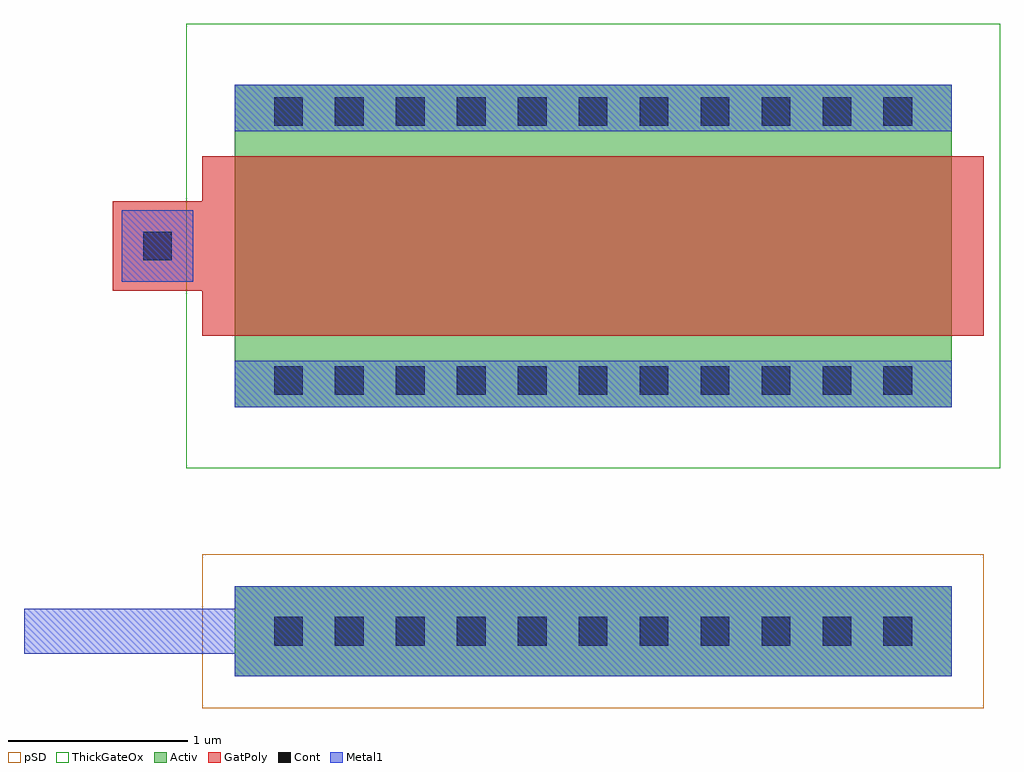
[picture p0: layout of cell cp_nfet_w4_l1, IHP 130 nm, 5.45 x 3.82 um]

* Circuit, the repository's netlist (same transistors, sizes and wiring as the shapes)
* extracted by klt extract --deck sg13cmos5l

* cell cp_nfet_w4_l1
* pin vsubs
.SUBCKT cp_nfet_w4_l1 vsubs
* device instance $1 r0 *1 3.3,3.36 nfet
X$1 \$2 \$1 \$3 vsubs sg13_hv_nmos L=1U W=4U AS=1.6P AD=1.6P PS=8.8U PD=8.8U
.ENDS cp_nfet_w4_l1

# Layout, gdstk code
import gdstk
lib = gdstk.Library(unit=1e-6, precision=1e-09)
def R(c, l, rs):  # rectangles x0, y0, x1, y1
    for r in rs: c.add(gdstk.rectangle(r[:2], r[2:], *l))
def A(c, l, x, y, w, h, nx, ny, dx, dy):  # array of equal rectangles
    R(c, l, [(x+i*dx, y+j*dy, x+i*dx+w, y+j*dy+h) for i in range(nx) for j in range(ny)])
Activ = (1, 0)
GatPoly = (5, 0)
Cont = (6, 0)
Metal1 = (8, 0)
pSD = (14, 0)
ThickGateOx = (44, 0)

cp_nfet_w4_l1 = lib.new_cell('cp_nfet_w4_l1')
R(cp_nfet_w4_l1, Activ, [(1.3,0.96,5.3,1.46), (1.3,2.46,5.3,4.26)])
R(cp_nfet_w4_l1, GatPoly, [(1.12,2.86,5.48,3.86), (0.62,3.11,1.12,3.61)])
A(cp_nfet_w4_l1, Cont, 1.52, 1.13, 0.16, 0.16, 11, 2, 0.34, 1.4)
A(cp_nfet_w4_l1, Cont, 1.52, 4.03, 0.16, 0.16, 11, 1, 0.34, 0)
R(cp_nfet_w4_l1, Cont, [(0.79,3.28,0.95,3.44)])
R(cp_nfet_w4_l1, Metal1, [(1.3,0.96,5.3,1.46), (0.125,1.085,1.3,1.335), (1.3,2.46,5.3,2.72), (0.67,3.16,1.07,3.56), (1.3,4,5.3,4.26)])
R(cp_nfet_w4_l1, pSD, [(1.12,0.78,5.48,1.64)])
R(cp_nfet_w4_l1, ThickGateOx, [(1.03,2.12,5.57,4.6)])

lib.write_gds('cp_nfet_w4_l1.gds')
